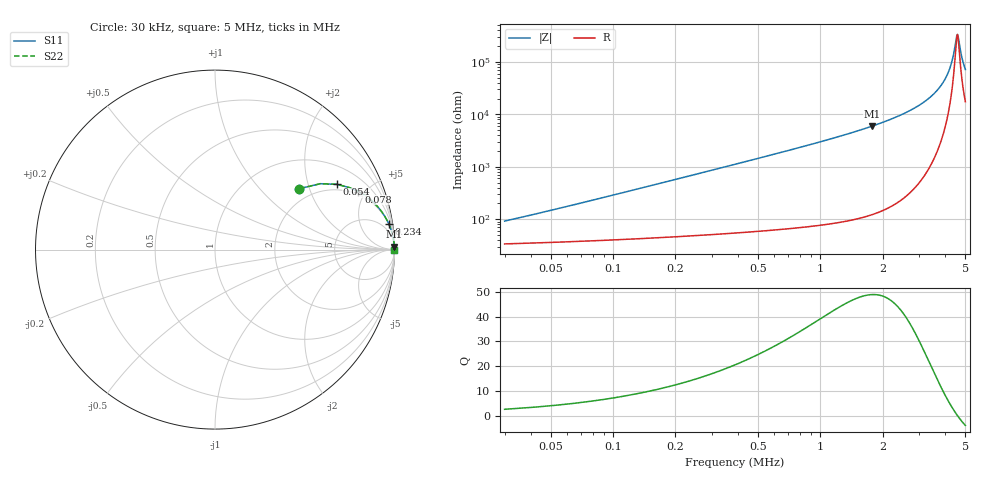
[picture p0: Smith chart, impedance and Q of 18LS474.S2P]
! Coilcraft 1812LS-474 Chip Inductor
! 8 August 2002
# MHZ S MA R 50
!Freq  MagS11  AngS11  MagS21  AngS21  MagS12  AngS12  MagS22  AngS22
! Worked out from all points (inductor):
!   416 points, 30 kHz to 5 MHz, reference 50 ohm
!   read as one part in series: L = 455 uH near 54 kHz
!   highest Q = 48.9 at 1.782 MHz (marker M1), where L = 536 uH
!   self-resonance near 4.566 MHz
!   S11 on the Smith chart (normalised r, x): 30 kHz: 1.68, +1.72; 54 kHz: 1.73, +3.09; 78 kHz: 1.77, +4.46; 234 kHz: 2, +13; 5 MHz: open
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0.03  0.58 35.8  0.6292 -32.7  0.6292 -32.7  0.58 35.8
0.054  0.7699 28.2  0.4853 -48.5  0.4853 -48.5  0.7699 28.2
0.078  0.862 22.0  0.3808 -58.1  0.3808 -58.1  0.862 22.0
0.102  0.9097 17.8  0.3089 -64.3  0.3089 -64.3  0.9097 17.8
0.138  0.9459 13.7  0.2382 -70.1  0.2382 -70.1  0.9459 13.7
0.234  0.979 8.4  0.1456 -77.6  0.1456 -77.6  0.979 8.4
0.342  0.9896 5.8  0.1005 -81.2  0.1005 -81.2  0.9896 5.8
0.486  0.9946 4.1  0.07071 -83.6  0.07071 -83.6  0.9946 4.1
0.87  0.9982 2.2  0.03867 -86.2  0.03867 -86.2  0.9982 2.2
1.23  0.9991 1.5  0.02635 -87.2  0.02635 -87.2  0.9991 1.5
1.698  0.9995 1.0  0.01775 -87.8  0.01775 -87.8  0.9995 1.0
1.782  0.9995 1.0  0.01664 -87.9  0.01664 -87.9  0.9995 1.0
2.526  0.9997 0.6  0.009625 -88.0  0.009625 -88.0  0.9997 0.6
3.354  0.9998 0.3  0.004829 -87.0  0.004829 -87.0  0.9998 0.3
3.846  0.9998 0.2  0.002681 -84.6  0.002681 -84.6  0.9998 0.2
4.182  0.9997 0.1  0.001405 -79.0  0.001405 -79.0  0.9997 0.1
4.338  0.9997 0.0  0.000865 -71.2  0.000865 -71.2  0.9997 0.0
4.53  0.9997 0.0  0.0003337 -28.2  0.0003337 -28.2  0.9997 0.0
4.578  0.9997 -0.0  0.0002984 0.6  0.0002984 0.6  0.9997 -0.0
4.626  0.9997 -0.0  0.0003435 28.2  0.0003435 28.2  0.9997 -0.0
4.806  0.9997 -0.0  0.0008108 66.8  0.0008108 66.8  0.9997 -0.0
5  0.9997 -0.1  0.001392 75.9  0.001392 75.9  0.9997 -0.1
